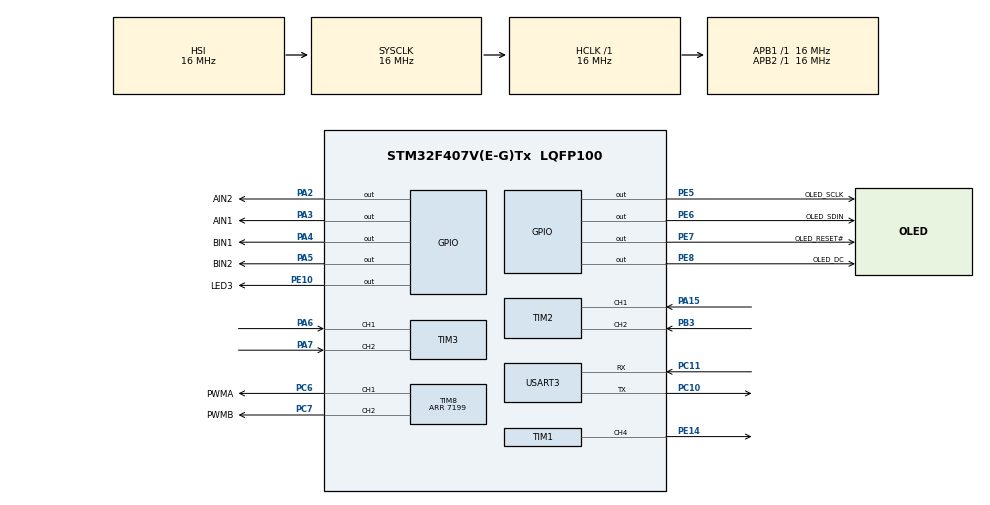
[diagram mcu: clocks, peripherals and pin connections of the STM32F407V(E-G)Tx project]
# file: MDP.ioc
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FREERTOS.Tasks01=defaultTask,0,128,StartDefaultTask,Default,NULL,Dynamic,NULL,NULL;ShowTask,0,128,show,Default,NULL,Dynamic,NULL,NULL;MotorTask,2,128,motor,Default,NULL,Dynamic,NULL,NULL;EncoderATask,0,128,encoderMotorA,Default,NULL,Dynamic,NULL,NULL;EncoderBTask,0,128,encoderMotorB,Default,NULL,Dynamic,NULL,NULL
Mcu.Family=STM32F4
Mcu.Name=STM32F407V(E-G)Tx
Mcu.Package=LQFP100
NVIC.PriorityGroup=NVIC_PRIORITYGROUP_4
NVIC.USART3_IRQn=true\:5\:0\:false\:false\:true\:true\:true\:true\:true
PA15.Signal=S_TIM2_CH1_ETR
PA2.GPIO_Label=AIN2
PA2.GPIO_Speed=GPIO_SPEED_FREQ_HIGH
PA2.Signal=GPIO_Output
PA3.GPIO_Label=AIN1
PA3.GPIO_Speed=GPIO_SPEED_FREQ_HIGH
PA3.Signal=GPIO_Output
PA4.GPIO_Label=BIN1
PA4.GPIO_Speed=GPIO_SPEED_FREQ_HIGH
PA4.Signal=GPIO_Output
PA5.GPIO_Label=BIN2
PA5.GPIO_Speed=GPIO_SPEED_FREQ_HIGH
PA5.Signal=GPIO_Output
PA6.Signal=S_TIM3_CH1
PA7.Signal=S_TIM3_CH2
PB3.Signal=S_TIM2_CH2
PC10.Mode=Asynchronous
PC10.Signal=USART3_TX
PC11.Mode=Asynchronous
PC11.Signal=USART3_RX
PC6.GPIO_Label=PWMA
PC6.Signal=S_TIM8_CH1
PC7.GPIO_Label=PWMB
PC7.Signal=S_TIM8_CH2
PE10.GPIO_Label=LED3
PE10.Signal=GPIO_Output
PE14.Signal=S_TIM1_CH4
PE5.GPIO_Label=OLED_SCLK
PE5.Signal=GPIO_Output
PE6.GPIO_Label=OLED_SDIN
PE6.Signal=GPIO_Output
PE7.GPIO_Label=OLED_RESET\#
PE7.Signal=GPIO_Output
PE8.GPIO_Label=OLED_DC
PE8.Signal=GPIO_Output
ProjectManager.HeapSize=0x200
ProjectManager.StackSize=0x400
ProjectManager.TargetToolchain=STM32CubeIDE
RCC.AHBFreq_Value=16000000
RCC.APB1Freq_Value=16000000
RCC.APB2Freq_Value=16000000
RCC.CortexFreq_Value=16000000
RCC.HSE_VALUE=25000000
RCC.HSI_VALUE=16000000
RCC.LSE_VALUE=32768
RCC.SYSCLKFreq_VALUE=16000000
RCC.VCOOutputFreq_Value=192000000
SH.S_TIM1_CH4.0=TIM1_CH4,PWM Generation4 CH4
SH.S_TIM2_CH1_ETR.0=TIM2_CH1,Encoder_Interface
SH.S_TIM2_CH2.0=TIM2_CH2,Encoder_Interface
SH.S_TIM3_CH1.0=TIM3_CH1,Encoder_Interface
SH.S_TIM3_CH2.0=TIM3_CH2,Encoder_Interface
SH.S_TIM8_CH1.0=TIM8_CH1,PWM Generation1 CH1
SH.S_TIM8_CH2.0=TIM8_CH2,PWM Generation2 CH2
TIM1.AutoReloadPreload=TIM_AUTORELOAD_PRELOAD_ENABLE
TIM1.Channel-PWM\ Generation4\ CH4=TIM_CHANNEL_4
TIM1.Period=1000
TIM1.Prescaler=160
TIM2.EncoderMode=TIM_ENCODERMODE_TI12
TIM2.IC1Filter=10
TIM2.IC2Filter=10
TIM3.EncoderMode=TIM_ENCODERMODE_TI12
TIM8.Channel-PWM\ Generation1\ CH1=TIM_CHANNEL_1
TIM8.Channel-PWM\ Generation2\ CH2=TIM_CHANNEL_2
TIM8.Period=7199
USART3.VirtualMode=VM_ASYNC
VP_FREERTOS_VS_CMSIS_V1.Mode=CMSIS_V1
VP_TIM1_VS_ClockSourceINT.Mode=Internal
VP_TIM8_VS_ClockSourceINT.Mode=Internal
board=custom

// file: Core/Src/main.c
/* USER CODE BEGIN Header */
/**
  ******************************************************************************
  * @file           : main.c
  * @brief          : Main program body
  ******************************************************************************
  * @attention
  *
  * Copyright (c) 2023 STMicroelectronics.
  * All rights reserved.
  *
  * This software is licensed under terms that can be found in the LICENSE file
  * in the root directory of this software component.
  * If no LICENSE file comes with this software, it is provided AS-IS.
  *
  ******************************************************************************
  */
/* USER CODE END Header */
#include "main.h"
#include "cmsis_os.h"

/* USER CODE BEGIN Includes */
#include "oled.h"
/* USER CODE END Includes */

TIM_HandleTypeDef htim1;
TIM_HandleTypeDef htim2;
TIM_HandleTypeDef htim3;
TIM_HandleTypeDef htim8;

UART_HandleTypeDef huart3;

osThreadId defaultTaskHandle;
osThreadId ShowTaskHandle;
osThreadId MotorTaskHandle;
osThreadId EncoderATaskHandle;
osThreadId EncoderBTaskHandle;

void SystemClock_Config(void);
static void MX_GPIO_Init(void);
static void MX_TIM8_Init(void);
static void MX_TIM2_Init(void);
static void MX_TIM3_Init(void);
static void MX_TIM1_Init(void);
static void MX_USART3_UART_Init(void);
void StartDefaultTask(void const * argument);
void show(void const * argument);
void motor(void const * argument);
void encoderMotorA(void const * argument);
void encoderMotorB(void const * argument);

/* USER CODE BEGIN PFP */
void moveForward(void);
void moveReverse(void);
void stopMotor(void);

/* USER CODE END PFP */

/* USER CODE BEGIN 0 */
uint8_t aRxBuffer[20];
/* USER CODE END 0 */

int main(void)
{

  /* MCU Configuration--------------------------------------------------------*/

  /* Reset of all peripherals, Initializes the Flash interface and the Systick. */
  HAL_Init();

  /* Configure the system clock */
  SystemClock_Config();

  /* Initialize all configured peripherals */
  MX_GPIO_Init();
  MX_TIM8_Init();
  MX_TIM2_Init();
  MX_TIM3_Init();
  MX_TIM1_Init();
  MX_USART3_UART_Init();
  /* USER CODE BEGIN 2 */
  OLED_Init();
  HAL_UART_Receive_IT(&huart3, (uint8_t *) aRxBuffer, 10); // receive an amount of data in non blocking mode
  /* USER CODE END 2 */

  /* Create the thread(s) */
  /* definition and creation of defaultTask */
  osThreadDef(defaultTask, StartDefaultTask, osPriorityNormal, 0, 128);
  defaultTaskHandle = osThreadCreate(osThread(defaultTask), NULL);

  /* definition and creation of ShowTask */
  osThreadDef(ShowTask, show, osPriorityNormal, 0, 128);
  ShowTaskHandle = osThreadCreate(osThread(ShowTask), NULL);

  /* definition and creation of MotorTask */
  osThreadDef(MotorTask, motor, osPriorityHigh, 0, 128);
  MotorTaskHandle = osThreadCreate(osThread(MotorTask), NULL);

  /* definition and creation of EncoderATask */
  osThreadDef(EncoderATask, encoderMotorA, osPriorityNormal, 0, 128);
  EncoderATaskHandle = osThreadCreate(osThread(EncoderATask), NULL);

  /* definition and creation of EncoderBTask */
  osThreadDef(EncoderBTask, encoderMotorB, osPriorityNormal, 0, 128);
  EncoderBTaskHandle = osThreadCreate(osThread(EncoderBTask), NULL);

  /* Start scheduler */
  osKernelStart();

  /* We should never get here as control is now taken by the scheduler */
  /* Infinite loop */
  while (1)
  {

  }
}

void SystemClock_Config(void)
{
  RCC_OscInitTypeDef RCC_OscInitStruct = {0};
  RCC_ClkInitTypeDef RCC_ClkInitStruct = {0};

  /** Configure the main internal regulator output voltage
  */
  __HAL_RCC_PWR_CLK_ENABLE();
  __HAL_PWR_VOLTAGESCALING_CONFIG(PWR_REGULATOR_VOLTAGE_SCALE1);

  /** Initializes the RCC Oscillators according to the specified parameters
  * in the RCC_OscInitTypeDef structure.
  */
  RCC_OscInitStruct.OscillatorType = RCC_OSCILLATORTYPE_HSI;
  RCC_OscInitStruct.HSIState = RCC_HSI_ON;
  RCC_OscInitStruct.HSICalibrationValue = RCC_HSICALIBRATION_DEFAULT;
  RCC_OscInitStruct.PLL.PLLState = RCC_PLL_NONE;
  if (HAL_RCC_OscConfig(&RCC_OscInitStruct) != HAL_OK)
  {
    Error_Handler();
  }

  /** Initializes the CPU, AHB and APB buses clocks
  */
  RCC_ClkInitStruct.ClockType = RCC_CLOCKTYPE_HCLK|RCC_CLOCKTYPE_SYSCLK
                              |RCC_CLOCKTYPE_PCLK1|RCC_CLOCKTYPE_PCLK2;
  RCC_ClkInitStruct.SYSCLKSource = RCC_SYSCLKSOURCE_HSI;
  RCC_ClkInitStruct.AHBCLKDivider = RCC_SYSCLK_DIV1;
  RCC_ClkInitStruct.APB1CLKDivider = RCC_HCLK_DIV1;
  RCC_ClkInitStruct.APB2CLKDivider = RCC_HCLK_DIV1;

  if (HAL_RCC_ClockConfig(&RCC_ClkInitStruct, FLASH_LATENCY_0) != HAL_OK)
  {
    Error_Handler();
  }
}

static void MX_TIM1_Init(void)
{

  TIM_ClockConfigTypeDef sClockSourceConfig = {0};
  TIM_MasterConfigTypeDef sMasterConfig = {0};
  TIM_OC_InitTypeDef sConfigOC = {0};
  TIM_BreakDeadTimeConfigTypeDef sBreakDeadTimeConfig = {0};

  htim1.Instance = TIM1;
  htim1.Init.Prescaler = 160;
  htim1.Init.CounterMode = TIM_COUNTERMODE_UP;
  htim1.Init.Period = 1000;
  htim1.Init.ClockDivision = TIM_CLOCKDIVISION_DIV1;
  htim1.Init.RepetitionCounter = 0;
  htim1.Init.AutoReloadPreload = TIM_AUTORELOAD_PRELOAD_ENABLE;
  if (HAL_TIM_Base_Init(&htim1) != HAL_OK)
  {
    Error_Handler();
  }
  sClockSourceConfig.ClockSource = TIM_CLOCKSOURCE_INTERNAL;
  if (HAL_TIM_ConfigClockSource(&htim1, &sClockSourceConfig) != HAL_OK)
  {
    Error_Handler();
  }
  if (HAL_TIM_PWM_Init(&htim1) != HAL_OK)
  {
    Error_Handler();
  }
  sMasterConfig.MasterOutputTrigger = TIM_TRGO_RESET;
  sMasterConfig.MasterSlaveMode = TIM_MASTERSLAVEMODE_DISABLE;
  if (HAL_TIMEx_MasterConfigSynchronization(&htim1, &sMasterConfig) != HAL_OK)
  {
    Error_Handler();
  }
  sConfigOC.OCMode = TIM_OCMODE_PWM1;
  sConfigOC.Pulse = 0;
  sConfigOC.OCPolarity = TIM_OCPOLARITY_HIGH;
  sConfigOC.OCFastMode = TIM_OCFAST_DISABLE;
  sConfigOC.OCIdleState = TIM_OCIDLESTATE_RESET;
  sConfigOC.OCNIdleState = TIM_OCNIDLESTATE_RESET;
  if (HAL_TIM_PWM_ConfigChannel(&htim1, &sConfigOC, TIM_CHANNEL_4) != HAL_OK)
  {
    Error_Handler();
  }
  sBreakDeadTimeConfig.OffStateRunMode = TIM_OSSR_DISABLE;
  sBreakDeadTimeConfig.OffStateIDLEMode = TIM_OSSI_DISABLE;
  sBreakDeadTimeConfig.LockLevel = TIM_LOCKLEVEL_OFF;
  sBreakDeadTimeConfig.DeadTime = 0;
  sBreakDeadTimeConfig.BreakState = TIM_BREAK_DISABLE;
  sBreakDeadTimeConfig.BreakPolarity = TIM_BREAKPOLARITY_HIGH;
  sBreakDeadTimeConfig.AutomaticOutput = TIM_AUTOMATICOUTPUT_DISABLE;
  if (HAL_TIMEx_ConfigBreakDeadTime(&htim1, &sBreakDeadTimeConfig) != HAL_OK)
  {
    Error_Handler();
  }
  HAL_TIM_MspPostInit(&htim1);

}

static void MX_TIM2_Init(void)
{

  TIM_Encoder_InitTypeDef sConfig = {0};
  TIM_MasterConfigTypeDef sMasterConfig = {0};

  htim2.Instance = TIM2;
  htim2.Init.Prescaler = 0;
  htim2.Init.CounterMode = TIM_COUNTERMODE_UP;
  htim2.Init.Period = 4294967295;
  htim2.Init.ClockDivision = TIM_CLOCKDIVISION_DIV1;
  htim2.Init.AutoReloadPreload = TIM_AUTORELOAD_PRELOAD_DISABLE;
  sConfig.EncoderMode = TIM_ENCODERMODE_TI12;
  sConfig.IC1Polarity = TIM_ICPOLARITY_RISING;
  sConfig.IC1Selection = TIM_ICSELECTION_DIRECTTI;
  sConfig.IC1Prescaler = TIM_ICPSC_DIV1;
  sConfig.IC1Filter = 10;
  sConfig.IC2Polarity = TIM_ICPOLARITY_RISING;
  sConfig.IC2Selection = TIM_ICSELECTION_DIRECTTI;
  sConfig.IC2Prescaler = TIM_ICPSC_DIV1;
  sConfig.IC2Filter = 10;
  if (HAL_TIM_Encoder_Init(&htim2, &sConfig) != HAL_OK)
  {
    Error_Handler();
  }
  sMasterConfig.MasterOutputTrigger = TIM_TRGO_RESET;
  sMasterConfig.MasterSlaveMode = TIM_MASTERSLAVEMODE_DISABLE;
  if (HAL_TIMEx_MasterConfigSynchronization(&htim2, &sMasterConfig) != HAL_OK)
  {
    Error_Handler();
  }

}

static void MX_TIM3_Init(void)
{

  TIM_Encoder_InitTypeDef sConfig = {0};
  TIM_MasterConfigTypeDef sMasterConfig = {0};

  htim3.Instance = TIM3;
  htim3.Init.Prescaler = 0;
  htim3.Init.CounterMode = TIM_COUNTERMODE_UP;
  htim3.Init.Period = 65535;
  htim3.Init.ClockDivision = TIM_CLOCKDIVISION_DIV1;
  htim3.Init.AutoReloadPreload = TIM_AUTORELOAD_PRELOAD_DISABLE;
  sConfig.EncoderMode = TIM_ENCODERMODE_TI12;
  sConfig.IC1Polarity = TIM_ICPOLARITY_RISING;
  sConfig.IC1Selection = TIM_ICSELECTION_DIRECTTI;
  sConfig.IC1Prescaler = TIM_ICPSC_DIV1;
  sConfig.IC1Filter = 0;
  sConfig.IC2Polarity = TIM_ICPOLARITY_RISING;
  sConfig.IC2Selection = TIM_ICSELECTION_DIRECTTI;
  sConfig.IC2Prescaler = TIM_ICPSC_DIV1;
  sConfig.IC2Filter = 0;
  if (HAL_TIM_Encoder_Init(&htim3, &sConfig) != HAL_OK)
  {
    Error_Handler();
  }
  sMasterConfig.MasterOutputTrigger = TIM_TRGO_RESET;
  sMasterConfig.MasterSlaveMode = TIM_MASTERSLAVEMODE_DISABLE;
  if (HAL_TIMEx_MasterConfigSynchronization(&htim3, &sMasterConfig) != HAL_OK)
  {
    Error_Handler();
  }

}

static void MX_TIM8_Init(void)
{

  TIM_ClockConfigTypeDef sClockSourceConfig = {0};
  TIM_MasterConfigTypeDef sMasterConfig = {0};
  TIM_OC_InitTypeDef sConfigOC = {0};
  TIM_BreakDeadTimeConfigTypeDef sBreakDeadTimeConfig = {0};

  htim8.Instance = TIM8;
  htim8.Init.Prescaler = 0;
  htim8.Init.CounterMode = TIM_COUNTERMODE_UP;
  htim8.Init.Period = 7199;
  htim8.Init.ClockDivision = TIM_CLOCKDIVISION_DIV1;
  htim8.Init.RepetitionCounter = 0;
  htim8.Init.AutoReloadPreload = TIM_AUTORELOAD_PRELOAD_DISABLE;
  if (HAL_TIM_Base_Init(&htim8) != HAL_OK)
  {
    Error_Handler();
  }
  sClockSourceConfig.ClockSource = TIM_CLOCKSOURCE_INTERNAL;
  if (HAL_TIM_ConfigClockSource(&htim8, &sClockSourceConfig) != HAL_OK)
  {
    Error_Handler();
  }
  if (HAL_TIM_PWM_Init(&htim8) != HAL_OK)
  {
    Error_Handler();
  }
  sMasterConfig.MasterOutputTrigger = TIM_TRGO_RESET;
  sMasterConfig.MasterSlaveMode = TIM_MASTERSLAVEMODE_DISABLE;
  if (HAL_TIMEx_MasterConfigSynchronization(&htim8, &sMasterConfig) != HAL_OK)
  {
    Error_Handler();
  }
  sConfigOC.OCMode = TIM_OCMODE_PWM1;
  sConfigOC.Pulse = 0;
  sConfigOC.OCPolarity = TIM_OCPOLARITY_HIGH;
  sConfigOC.OCNPolarity = TIM_OCNPOLARITY_HIGH;
  sConfigOC.OCFastMode = TIM_OCFAST_DISABLE;
  sConfigOC.OCIdleState = TIM_OCIDLESTATE_RESET;
  sConfigOC.OCNIdleState = TIM_OCNIDLESTATE_RESET;
  if (HAL_TIM_PWM_ConfigChannel(&htim8, &sConfigOC, TIM_CHANNEL_1) != HAL_OK)
  {
    Error_Handler();
  }
  if (HAL_TIM_PWM_ConfigChannel(&htim8, &sConfigOC, TIM_CHANNEL_2) != HAL_OK)
  {
    Error_Handler();
  }
  sBreakDeadTimeConfig.OffStateRunMode = TIM_OSSR_DISABLE;
  sBreakDeadTimeConfig.OffStateIDLEMode = TIM_OSSI_DISABLE;
  sBreakDeadTimeConfig.LockLevel = TIM_LOCKLEVEL_OFF;
  sBreakDeadTimeConfig.DeadTime = 0;
  sBreakDeadTimeConfig.BreakState = TIM_BREAK_DISABLE;
  sBreakDeadTimeConfig.BreakPolarity = TIM_BREAKPOLARITY_HIGH;
  sBreakDeadTimeConfig.AutomaticOutput = TIM_AUTOMATICOUTPUT_DISABLE;
  if (HAL_TIMEx_ConfigBreakDeadTime(&htim8, &sBreakDeadTimeConfig) != HAL_OK)
  {
    Error_Handler();
  }
  HAL_TIM_MspPostInit(&htim8);

}

static void MX_USART3_UART_Init(void)
{

  huart3.Instance = USART3;
  huart3.Init.BaudRate = 115200;
  huart3.Init.WordLength = UART_WORDLENGTH_8B;
  huart3.Init.StopBits = UART_STOPBITS_1;
  huart3.Init.Parity = UART_PARITY_NONE;
  huart3.Init.Mode = UART_MODE_TX_RX;
  huart3.Init.HwFlowCtl = UART_HWCONTROL_NONE;
  huart3.Init.OverSampling = UART_OVERSAMPLING_16;
  if (HAL_UART_Init(&huart3) != HAL_OK)
  {
    Error_Handler();
  }

}

static void MX_GPIO_Init(void)
{
  GPIO_InitTypeDef GPIO_InitStruct = {0};

  /* GPIO Ports Clock Enable */
  __HAL_RCC_GPIOE_CLK_ENABLE();
  __HAL_RCC_GPIOA_CLK_ENABLE();
  __HAL_RCC_GPIOC_CLK_ENABLE();
  __HAL_RCC_GPIOB_CLK_ENABLE();

  /*Configure GPIO pin Output Level */
  HAL_GPIO_WritePin(GPIOE, OLED_SCLK_Pin|OLED_SDIN_Pin|OLED_RESET__Pin|OLED_DC_Pin
                          |LED3_Pin, GPIO_PIN_RESET);

  /*Configure GPIO pin Output Level */
  HAL_GPIO_WritePin(GPIOA, AIN2_Pin|AIN1_Pin|BIN1_Pin|BIN2_Pin, GPIO_PIN_RESET);

  /*Configure GPIO pins : OLED_SCLK_Pin OLED_SDIN_Pin OLED_RESET__Pin OLED_DC_Pin
                           LED3_Pin */
  GPIO_InitStruct.Pin = OLED_SCLK_Pin|OLED_SDIN_Pin|OLED_RESET__Pin|OLED_DC_Pin
                          |LED3_Pin;
  GPIO_InitStruct.Mode = GPIO_MODE_OUTPUT_PP;
  GPIO_InitStruct.Pull = GPIO_NOPULL;
  GPIO_InitStruct.Speed = GPIO_SPEED_FREQ_LOW;
  HAL_GPIO_Init(GPIOE, &GPIO_InitStruct);

  /*Configure GPIO pins : AIN2_Pin AIN1_Pin BIN1_Pin BIN2_Pin */
  GPIO_InitStruct.Pin = AIN2_Pin|AIN1_Pin|BIN1_Pin|BIN2_Pin;
  GPIO_InitStruct.Mode = GPIO_MODE_OUTPUT_PP;
  GPIO_InitStruct.Pull = GPIO_NOPULL;
  GPIO_InitStruct.Speed = GPIO_SPEED_FREQ_HIGH;
  HAL_GPIO_Init(GPIOA, &GPIO_InitStruct);

}

/* USER CODE BEGIN 4 */
void HAL_UART_RxCpltCallback(UART_HandleTypeDef *huart) // interrupt callback function when receive message comes in
{
	// Prevent unused argument(s) compilation warning
	UNUSED(huart);

	HAL_UART_Transmit(&huart3, (uint8_t *) aRxBuffer, 10, 0xFFFF); // receive and put inside
}
/* USER CODE END 4 */

void StartDefaultTask(void const * argument)
{
  /* USER CODE BEGIN 5 */

	uint8_t ch = 'A';
  /* Infinite loop */
  for(;;)
  {
	HAL_UART_Transmit(&huart3, (uint8_t *) &ch, 1, 0xFFFF); // transmit 1 char every 5 second
	if(ch <'Z')
		ch++;
	else ch = 'A';

    HAL_GPIO_TogglePin(LED3_GPIO_Port, LED3_Pin);
    osDelay(5000);
  }
  /* USER CODE END 5 */
}

void show(void const * argument)
{
  /* USER CODE BEGIN show */
	uint8_t hello[20] = "Hello World!";

  /* Infinite loop */
  for(;;)
  {
	sprintf(hello, "%s\0", aRxBuffer); // to prevent incorrect display
	OLED_ShowString(10,10,hello);
	OLED_Refresh_Gram();
    osDelay(1000);
  }
  /* USER CODE END show */
}

void stopMotor(void)
{
	__HAL_TIM_SetCompare(&htim8, TIM_CHANNEL_1, 0);
	__HAL_TIM_SetCompare(&htim8, TIM_CHANNEL_2, 0);
}

void moveForward(void) //anti-clockwise
{
	HAL_GPIO_WritePin(GPIOA, AIN1_Pin, GPIO_PIN_SET);  // high
	HAL_GPIO_WritePin(GPIOA, AIN2_Pin, GPIO_PIN_RESET); // low

	HAL_GPIO_WritePin(GPIOA, BIN1_Pin, GPIO_PIN_SET);
	HAL_GPIO_WritePin(GPIOA, BIN2_Pin, GPIO_PIN_RESET);

	__HAL_TIM_SetCompare(&htim8, TIM_CHANNEL_1, 2500);
	__HAL_TIM_SetCompare(&htim8, TIM_CHANNEL_2, 2500);

	osDelay(10);
}

void moveReverse(void) //clockwise
{
	HAL_GPIO_WritePin(GPIOA, AIN1_Pin, GPIO_PIN_RESET); // low
	HAL_GPIO_WritePin(GPIOA, AIN2_Pin, GPIO_PIN_SET); // high

	HAL_GPIO_WritePin(GPIOA, BIN1_Pin, GPIO_PIN_RESET);
	HAL_GPIO_WritePin(GPIOA, BIN2_Pin, GPIO_PIN_SET);

	__HAL_TIM_SetCompare(&htim8, TIM_CHANNEL_1, 2500);
	__HAL_TIM_SetCompare(&htim8, TIM_CHANNEL_2, 2500);

	osDelay(10);
}

void motor(void const * argument)
{
	/* USER CODE BEGIN motor */

	HAL_TIM_PWM_Start(&htim1, TIM_CHANNEL_4); // Servo Motor PWM
	HAL_TIM_PWM_Start(&htim8, TIM_CHANNEL_1); // Motor A PWM
	HAL_TIM_PWM_Start(&htim8, TIM_CHANNEL_2); // Motor B PWM
	uint16_t cnt = 0;

	/* Servo motor values
	 * htim1.Instance->CCR4 = 100; // extreme left
	 * htim1.Instance->CCR4 = 145; // centre
	 * htim1.Instance->CCR4 = 200; // extreme right
	 */

	//Infinite loop
	for (;;)
	{
		//anti-clockwise (forward)
		while (cnt < 3000)
		{
			moveForward();
			cnt+=10;
		}

		stopMotor();
		htim1.Instance->CCR4 = 100; // extreme left
		osDelay(1000);
		cnt = 0;

		while (cnt < 1000)
		{
			moveForward();
			cnt+=10;
		}

		stopMotor();
		htim1.Instance->CCR4 = 145; // centre
		osDelay(1000);
		cnt=0;

		while (cnt < 3000)
				{
					moveForward();
					cnt+=10;
				}

		stopMotor();
		htim1.Instance->CCR4 = 200; // extreme right
		osDelay(1000);
		cnt=0;

		while (cnt < 1000)
		{
			moveForward();
			cnt+=10;
		}

		stopMotor();
		htim1.Instance->CCR4 = 145; // centre
		osDelay(1000);
		cnt=0;
	}
  /* USER CODE END motor */
}

void encoderMotorA(void const * argument)
{
  /* USER CODE BEGIN encoderMotorA */
	HAL_TIM_Encoder_Start(&htim2, TIM_CHANNEL_ALL);
	int cntA1, cntA2, diffA;
	uint32_t tickA;

	cntA1 = __HAL_TIM_GET_COUNTER(&htim2);
	tickA = HAL_GetTick();

	uint8_t helloA[20];
	uint16_t dirA;
	/* Infinite loop */
	for (;;) {
		if (HAL_GetTick() - tickA > 1000L) // get reading every 1000 ticks
				{
			cntA2 = __HAL_TIM_GET_COUNTER(&htim2); // get counter again from tim2
			if (__HAL_TIM_IS_TIM_COUNTING_DOWN(&htim2)) // check overflow and prevent it
					{
				if (cntA2 < cntA1)
					diffA = cntA1 - cntA2;
				else
					diffA = (65535 - cntA2) + cntA1;
			} else {
				if (cntA2 > cntA1)
					diffA = cntA2 - cntA1;
				else
					diffA = (65535 - cntA1) + cntA2;
			}
			sprintf(helloA, "SpeedA: %5d\0", diffA);
			OLED_ShowString(10, 20, helloA);
			dirA = __HAL_TIM_IS_TIM_COUNTING_DOWN(&htim2);
			sprintf(helloA, "DirA: %5d\0", dirA);
			OLED_ShowString(10, 30, helloA);
			cntA1 = __HAL_TIM_GET_COUNTER(&htim2);
			tickA = HAL_GetTick();
		}
	}

  /* USER CODE END encoderMotorA */
}

void encoderMotorB(void const * argument)
{
  /* USER CODE BEGIN encoderMotorB */
	HAL_TIM_Encoder_Start(&htim3, TIM_CHANNEL_ALL);
		int cntB1, cntB2, diffB;
		uint32_t tickB;

		cntB1 = __HAL_TIM_GET_COUNTER(&htim3);
		tickB = HAL_GetTick();

		uint8_t helloB[20];
		uint16_t dirB;
		/* Infinite loop */
		for (;;) {
			if (HAL_GetTick() - tickB > 1000L) // get reading every 1000 ticks
					{
				cntB2 = __HAL_TIM_GET_COUNTER(&htim3); // get counter again from tim2
				if (__HAL_TIM_IS_TIM_COUNTING_DOWN(&htim3)) // check overflow and prevent it
						{
					if (cntB2 < cntB1)
						diffB = cntB1 - cntB2;
					else
						diffB = (65535 - cntB2) + cntB1;
				} else {
					if (cntB2 > cntB1)
						diffB = cntB2 - cntB1;
					else
						diffB = (65535 - cntB1) + cntB2;
				}
				sprintf(helloB, "SpeedB: %5d\0", diffB);
				OLED_ShowString(10, 40, helloB);
				dirB = __HAL_TIM_IS_TIM_COUNTING_DOWN(&htim3);
				sprintf(helloB, "DirB: %5d\0", dirB);
				OLED_ShowString(10, 50, helloB);
				cntB1 = __HAL_TIM_GET_COUNTER(&htim3);
				tickB = HAL_GetTick();
			}
		}
  /* USER CODE END encoderMotorB */
}

void Error_Handler(void)
{
  __disable_irq();
  while (1)
  {
  }
}
